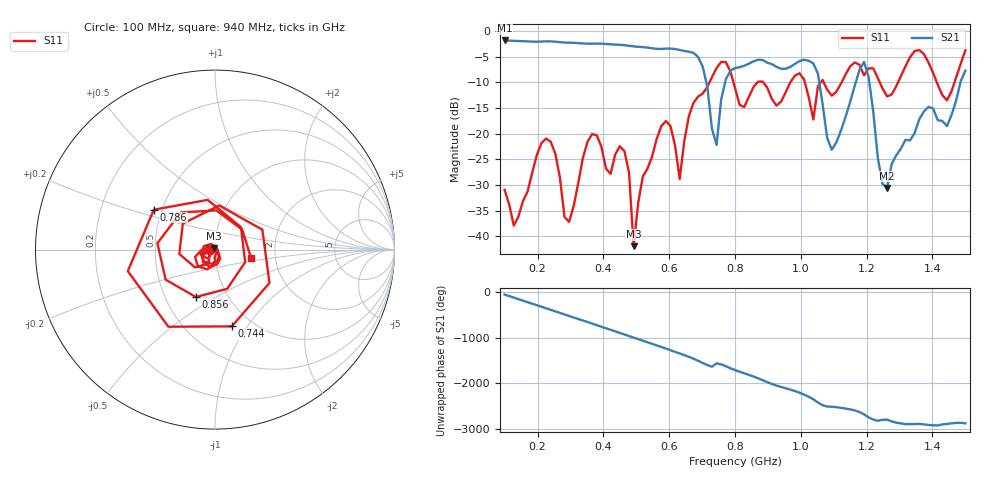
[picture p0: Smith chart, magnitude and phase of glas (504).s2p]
! NanoVNA-App
! Date: 2025-09-25 15:59:24
! Start: 100MHz Stop: 1,5GHz Points: 101
! S-Parameter data: F S11 S21 S12 S22
# Hz S RI R 50
!  Frequency  S11_Real  S11_Imag  S21_Real  S21_Imag  S12_Real  S12_Imag  S22_Real  S22_Imag
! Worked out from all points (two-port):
!   101 points, 100 MHz to 1.5 GHz, reference 50 ohm
!   highest |S21| = -1.80 dB at 100 MHz (marker M1); lowest = -30.6 dB at 1.262 GHz (marker M2)
!   |S21| within 3 dB of the highest: start of sweep to 684.2 MHz
!   lowest |S11| = -41.9 dB at 492 MHz (marker M3), VSWR 1.02, Z = 49.5 + j0.625 ohm
!   |S11| at or under -10 dB: start of sweep to 722.4 MHz; 795.5 MHz to 867.9 MHz (72.43 MHz wide, 8.71 % of centre); 886.2 MHz to 967.8 MHz (81.61 MHz wide, 8.8 % of centre) (the widest 3 of 7)
!   S12 and S22 are empty: the file has one direction only
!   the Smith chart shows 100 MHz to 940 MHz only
!   S11 on the Smith chart (normalised r, x): 100 MHz: 0.95, -0.01; 744 MHz: 0.80, -0.85; 786 MHz: 0.45, +0.24; 856 MHz: 0.71, -0.41; 940 MHz: 1.49, -0.15
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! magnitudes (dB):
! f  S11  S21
! 100 MHz  -30.9  -1.8
! 128 MHz  -37.9  -1.9
! 226 MHz  -20.9  -2.0
! 296 MHz  -37.2  -2.2
! 338 MHz  -24.7  -2.4
! 464 MHz  -23.4  -2.7
! 492 MHz  -41.9  -3.0
! 576 MHz  -18.5  -3.5
! 632 MHz  -28.8  -3.7
! 702 MHz  -12.2  -6.9
! 744 MHz  -7.2  -22.2
! 786 MHz  -7.8  -7.7
! 800 MHz  -11.1  -7.2
! 856 MHz  -10.9  -5.9
! 940 MHz  -13.7  -7.3
! 1.038 GHz  -17.2  -6.3
! 1.094 GHz  -12.6  -23.1
! 1.192 GHz  -8.6  -6.0
! 1.262 GHz  -12.7  -30.6
! 1.276 GHz  -12.3  -25.9
! 1.444 GHz  -13.5  -18.5
! 1.5 GHz  -3.7  -7.7
